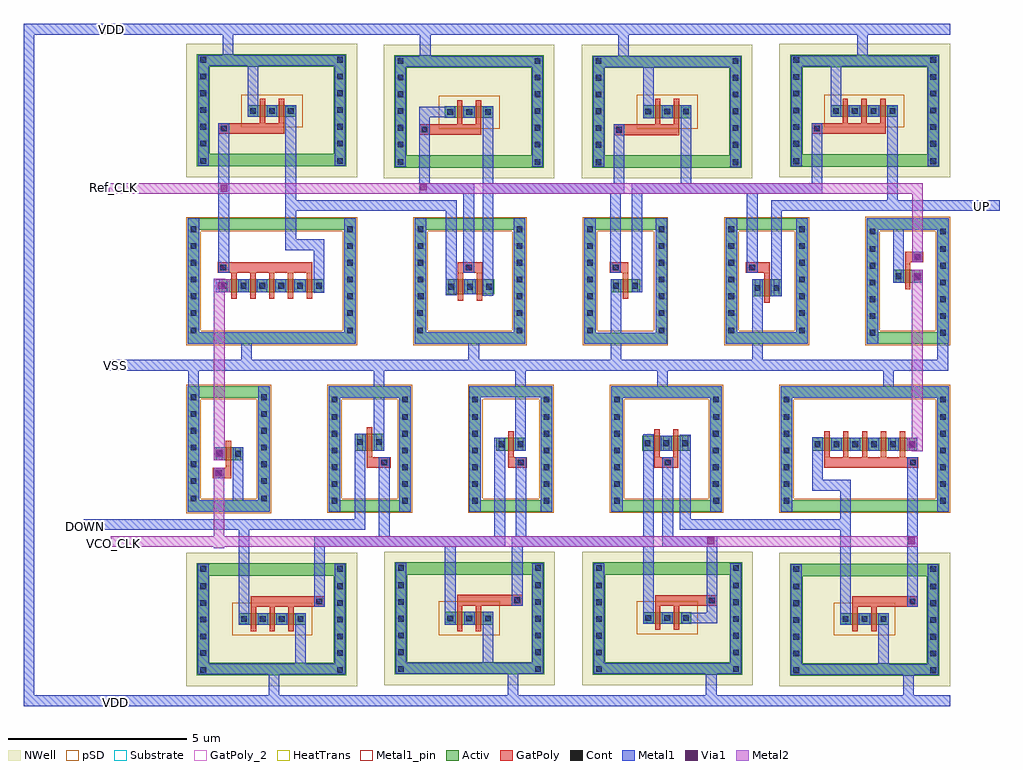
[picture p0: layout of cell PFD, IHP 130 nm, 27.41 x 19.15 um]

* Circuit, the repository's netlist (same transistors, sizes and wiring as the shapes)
* Extracted by KLayout with SG13G2 LVS runset on : 12/07/2025 14:50

.SUBCKT PFD
M$1 \$2 \$44 \$30 \$2 sg13_lv_nmos L=0.15u W=0.48u AS=0.1632p AD=0.1632p
+ PS=1.64u PD=1.64u
M$2 \$2 \$6 \$3 \$2 sg13_lv_nmos L=0.15u W=0.48u AS=0.1632p AD=0.1632p PS=1.64u
+ PD=1.64u
M$3 \$42 \$41 \$39 \$2 sg13_lv_nmos L=0.15u W=0.42u AS=0.1428p AD=0.0798p
+ PS=1.52u PD=0.8u
M$4 \$39 \$41 \$43 \$2 sg13_lv_nmos L=0.15u W=0.42u AS=0.0798p AD=0.1428p
+ PS=0.8u PD=1.52u
M$5 \$17 \$8 \$25 \$2 sg13_lv_nmos L=0.15u W=0.42u AS=0.1428p AD=0.0798p
+ PS=1.52u PD=0.8u
M$6 \$25 \$8 \$7 \$2 sg13_lv_nmos L=0.15u W=0.42u AS=0.0798p AD=0.1428p PS=0.8u
+ PD=1.52u
M$7 \$18 \$8 \$2 \$2 sg13_lv_nmos L=0.15u W=0.36u AS=0.1224p AD=0.1224p PS=1.4u
+ PD=1.4u
M$8 \$2 \$43 \$44 \$2 sg13_lv_nmos L=0.15u W=0.36u AS=0.1224p AD=0.1224p
+ PS=1.4u PD=1.4u
M$9 \$2 \$7 \$6 \$2 sg13_lv_nmos L=0.15u W=0.36u AS=0.1224p AD=0.1224p PS=1.4u
+ PD=1.4u
M$10 \$19 \$41 \$2 \$2 sg13_lv_nmos L=0.15u W=0.36u AS=0.1224p AD=0.1224p
+ PS=1.4u PD=1.4u
M$11 \$1 \$44 \$45 \$1 sg13_lv_pmos L=0.15u W=0.32u AS=0.1088p AD=0.0608p
+ PS=1.32u PD=0.7u
M$12 \$45 \$44 \$48 \$1 sg13_lv_pmos L=0.15u W=0.32u AS=0.0608p AD=0.0608p
+ PS=0.7u PD=0.7u
M$13 \$48 \$44 \$30 \$1 sg13_lv_pmos L=0.15u W=0.32u AS=0.0608p AD=0.1088p
+ PS=0.7u PD=1.32u
M$14 \$1 \$6 \$9 \$1 sg13_lv_pmos L=0.15u W=0.32u AS=0.1088p AD=0.0608p
+ PS=1.32u PD=0.7u
M$15 \$9 \$6 \$11 \$1 sg13_lv_pmos L=0.15u W=0.32u AS=0.0608p AD=0.0608p
+ PS=0.7u PD=0.7u
M$16 \$11 \$6 \$3 \$1 sg13_lv_pmos L=0.15u W=0.32u AS=0.0608p AD=0.1088p
+ PS=0.7u PD=1.32u
M$17 \$1 \$43 \$53 \$1 sg13_lv_pmos L=0.15u W=0.36u AS=0.1224p AD=0.0684p
+ PS=1.4u PD=0.74u
M$18 \$53 \$43 \$44 \$1 sg13_lv_pmos L=0.15u W=0.36u AS=0.0684p AD=0.1224p
+ PS=0.74u PD=1.4u
M$19 \$1 \$7 \$13 \$1 sg13_lv_pmos L=0.15u W=0.36u AS=0.1224p AD=0.0684p
+ PS=1.4u PD=0.74u
M$20 \$13 \$7 \$6 \$1 sg13_lv_pmos L=0.15u W=0.36u AS=0.0684p AD=0.1224p
+ PS=0.74u PD=1.4u
M$21 \$18 \$41 \$34 \$2 sg13_lv_nmos L=0.15u W=0.36u AS=0.1224p AD=0.0684p
+ PS=1.4u PD=0.74u
M$22 \$34 \$41 \$36 \$2 sg13_lv_nmos L=0.15u W=0.36u AS=0.0684p AD=0.0684p
+ PS=0.74u PD=0.74u
M$23 \$36 \$41 \$32 \$2 sg13_lv_nmos L=0.15u W=0.36u AS=0.0684p AD=0.0684p
+ PS=0.74u PD=0.74u
M$24 \$32 \$41 \$31 \$2 sg13_lv_nmos L=0.15u W=0.36u AS=0.0684p AD=0.0684p
+ PS=0.74u PD=0.74u
M$25 \$31 \$41 \$42 \$2 sg13_lv_nmos L=0.15u W=0.36u AS=0.0684p AD=0.1224p
+ PS=0.74u PD=1.4u
M$26 \$19 \$8 \$20 \$2 sg13_lv_nmos L=0.15u W=0.36u AS=0.1224p AD=0.0684p
+ PS=1.4u PD=0.74u
M$27 \$20 \$8 \$23 \$2 sg13_lv_nmos L=0.15u W=0.36u AS=0.0684p AD=0.0684p
+ PS=0.74u PD=0.74u
M$28 \$23 \$8 \$21 \$2 sg13_lv_nmos L=0.15u W=0.36u AS=0.0684p AD=0.0684p
+ PS=0.74u PD=0.74u
M$29 \$21 \$8 \$28 \$2 sg13_lv_nmos L=0.15u W=0.36u AS=0.0684p AD=0.0684p
+ PS=0.74u PD=0.74u
M$30 \$28 \$8 \$17 \$2 sg13_lv_nmos L=0.15u W=0.36u AS=0.0684p AD=0.1224p
+ PS=0.74u PD=1.4u
M$31 \$1 \$41 \$47 \$1 sg13_lv_pmos L=0.15u W=0.32u AS=0.1088p AD=0.0608p
+ PS=1.32u PD=0.7u
M$32 \$47 \$41 \$42 \$1 sg13_lv_pmos L=0.15u W=0.32u AS=0.0608p AD=0.1088p
+ PS=0.7u PD=1.32u
M$33 \$1 \$8 \$4 \$1 sg13_lv_pmos L=0.15u W=0.32u AS=0.1088p AD=0.0608p
+ PS=1.32u PD=0.7u
M$34 \$4 \$8 \$17 \$1 sg13_lv_pmos L=0.15u W=0.32u AS=0.0608p AD=0.1088p
+ PS=0.7u PD=1.32u
M$35 \$8 \$8 \$15 \$1 sg13_lv_pmos L=0.15u W=0.32u AS=0.1088p AD=0.0608p
+ PS=1.32u PD=0.7u
M$36 \$15 \$8 \$7 \$1 sg13_lv_pmos L=0.15u W=0.32u AS=0.0608p AD=0.1088p
+ PS=0.7u PD=1.32u
M$37 \$41 \$41 \$51 \$1 sg13_lv_pmos L=0.15u W=0.32u AS=0.1088p AD=0.0608p
+ PS=1.32u PD=0.7u
M$38 \$51 \$41 \$43 \$1 sg13_lv_pmos L=0.15u W=0.32u AS=0.0608p AD=0.1088p
+ PS=0.7u PD=1.32u
.ENDS PFD

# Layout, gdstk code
from math import pi, radians
import gdstk
lib = gdstk.Library(unit=1e-6, precision=5e-09)
def R(c, l, rs):  # rectangles x0, y0, x1, y1
    for r in rs: c.add(gdstk.rectangle(r[:2], r[2:], *l))
def A(c, l, x, y, w, h, nx, ny, dx, dy):  # array of equal rectangles
    R(c, l, [(x+i*dx, y+j*dy, x+i*dx+w, y+j*dy+h) for i in range(nx) for j in range(ny)])
def P(c, l, *ps):  # polygons
    for p in ps: c.add(gdstk.Polygon(p, *l))
Activ = (1, 0)
GatPoly = (5, 0)
GatPoly_2 = (5, 2)
Cont = (6, 0)
Metal1 = (8, 0)
Metal1_pin = (8, 2)
Metal2 = (10, 0)
pSD = (14, 0)
Via1 = (19, 0)
NWell = (31, 0)
Substrate = (40, 0)
HeatTrans = (51, 0)

pmos = lib.new_cell('pmos')
A(pmos, Activ, 0, 0, 0.3, 0.3, 3, 1, 0.53, 0)
R(pmos, Activ, [(0,0,1.36,0.32)])
R(pmos, GatPoly, [(0.34,-0.18,0.49,0.5), (0.34,-0.18,0.49,0.5), (0.87,-0.18,1.02,0.5)])
A(pmos, Cont, 0.07, 0.08, 0.16, 0.16, 3, 1, 0.53, 0)
R(pmos, Metal1, [(0.07,0,0.23,0.32), (0.07,0,0.23,0.32), (0.6,0,0.76,0.32), (0.6,0,0.76,0.32), (1.13,0,1.29,0.32)])
R(pmos, pSD, [(-0.18,-0.3,1.54,0.62)])
R(pmos, NWell, [(-0.31,-0.31,1.67,0.63)])
R(pmos, Substrate, [(1.06,0,1.36,0.3)])
R(pmos, HeatTrans, [(0.34,-0.18,0.49,0.5), (0.87,-0.18,1.02,0.5)])
pmos.add(gdstk.Label('pmos', (0.415,0.16), layer=63, texttype=0))
pmos.add(gdstk.Label('pmos', (0.415,0.16), layer=51, texttype=0))
pmos.add(gdstk.Label('pmos', (0.945,0.16), layer=51, texttype=0))

nmos_1 = lib.new_cell('nmos$1')
A(nmos_1, Activ, 0, 0, 0.3, 0.3, 6, 1, 0.53, 0)
R(nmos_1, Activ, [(0,0,2.95,0.36)])
A(nmos_1, GatPoly, 0.34, -0.18, 0.15, 0.72, 5, 1, 0.53, 0)
R(nmos_1, GatPoly_2, [(0.34,-0.18,0.49,0.54)])
A(nmos_1, Cont, 0.07, 0.1, 0.16, 0.16, 6, 1, 0.53, 0)
A(nmos_1, Metal1, 0.07, 0, 0.16, 0.36, 6, 1, 0.53, 0)
R(nmos_1, Metal1_pin, [(0.07,0,0.23,0.36), (0.6,0,0.76,0.36)])
A(nmos_1, HeatTrans, 0.34, -0.18, 0.15, 0.72, 5, 1, 0.53, 0)
nmos_1.add(gdstk.Label('nmos', (0.415,0.18), layer=63, texttype=0))
nmos_1.add(gdstk.Label('nmos', (0.415,0.18), layer=51, texttype=0))
nmos_1.add(gdstk.Label('nmos', (0.945,0.18), layer=51, texttype=0))
nmos_1.add(gdstk.Label('nmos', (1.475,0.18), layer=51, texttype=0))
nmos_1.add(gdstk.Label('nmos', (2.005,0.18), layer=51, texttype=0))
nmos_1.add(gdstk.Label('nmos', (2.535,0.18), layer=51, texttype=0))

pmos_2 = lib.new_cell('pmos$2')
A(pmos_2, Activ, 0, 0, 0.3, 0.3, 3, 1, 0.53, 0)
R(pmos_2, Activ, [(0,0,1.36,0.36)])
R(pmos_2, GatPoly, [(0.34,-0.18,0.49,0.54), (0.34,-0.18,0.49,0.54), (0.87,-0.18,1.02,0.54)])
A(pmos_2, Cont, 0.07, 0.1, 0.16, 0.16, 3, 1, 0.53, 0)
R(pmos_2, Metal1, [(0.07,0,0.23,0.36), (0.07,0,0.23,0.36), (0.6,0,0.76,0.36), (0.6,0,0.76,0.36), (1.13,0,1.29,0.36)])
R(pmos_2, pSD, [(-0.18,-0.3,1.54,0.66)])
R(pmos_2, NWell, [(-0.31,-0.31,1.67,0.67)])
R(pmos_2, Substrate, [(1.06,0,1.36,0.3)])
R(pmos_2, HeatTrans, [(0.34,-0.18,0.49,0.54), (0.87,-0.18,1.02,0.54)])
pmos_2.add(gdstk.Label('pmos', (0.415,0.18), layer=63, texttype=0))
pmos_2.add(gdstk.Label('pmos', (0.415,0.18), layer=51, texttype=0))
pmos_2.add(gdstk.Label('pmos', (0.945,0.18), layer=51, texttype=0))

pmos_3 = lib.new_cell('pmos$3')
A(pmos_3, Activ, 0, 0, 0.3, 0.3, 4, 1, 0.53, 0)
R(pmos_3, Activ, [(0,0,1.89,0.32)])
A(pmos_3, GatPoly, 0.34, -0.18, 0.15, 0.68, 3, 1, 0.53, 0)
R(pmos_3, GatPoly, [(0.34,-0.18,0.49,0.5)])
A(pmos_3, Cont, 0.07, 0.08, 0.16, 0.16, 4, 1, 0.53, 0)
A(pmos_3, Metal1, 0.6, 0, 0.16, 0.32, 3, 1, 0.53, 0)
R(pmos_3, Metal1, [(0.07,0,0.23,0.32), (0.07,0,0.23,0.32), (0.6,0,0.76,0.32)])
R(pmos_3, pSD, [(-0.18,-0.3,2.07,0.62)])
R(pmos_3, NWell, [(-0.31,-0.31,2.2,0.63)])
R(pmos_3, Substrate, [(1.59,0,1.89,0.3)])
A(pmos_3, HeatTrans, 0.34, -0.18, 0.15, 0.68, 3, 1, 0.53, 0)
pmos_3.add(gdstk.Label('pmos', (0.415,0.16), layer=63, texttype=0))
pmos_3.add(gdstk.Label('pmos', (0.415,0.16), layer=51, texttype=0))
pmos_3.add(gdstk.Label('pmos', (0.945,0.16), layer=51, texttype=0))
pmos_3.add(gdstk.Label('pmos', (1.475,0.16), layer=51, texttype=0))

nmos = lib.new_cell('nmos')
R(nmos, Activ, [(0,0,0.3,0.3), (0,0,0.83,0.36), (0.53,0,0.83,0.3)])
R(nmos, GatPoly, [(0.34,-0.18,0.49,0.54)])
R(nmos, GatPoly_2, [(0.34,-0.18,0.49,0.54)])
R(nmos, Cont, [(0.07,0.1,0.23,0.26), (0.6,0.1,0.76,0.26)])
R(nmos, Metal1, [(0.07,0,0.23,0.36), (0.6,0,0.76,0.36)])
R(nmos, Metal1_pin, [(0.07,0,0.23,0.36), (0.6,0,0.76,0.36)])
R(nmos, HeatTrans, [(0.34,-0.18,0.49,0.54)])
nmos.add(gdstk.Label('nmos', (0.415,0.18), layer=63, texttype=0))
nmos.add(gdstk.Label('nmos', (0.415,0.18), layer=51, texttype=0))

nmos_2 = lib.new_cell('nmos$2')
A(nmos_2, Activ, 0, 0, 0.3, 0.3, 3, 1, 0.53, 0)
R(nmos_2, Activ, [(0,0,1.36,0.42)])
R(nmos_2, GatPoly, [(0.34,-0.18,0.49,0.6), (0.87,-0.18,1.02,0.6)])
R(nmos_2, GatPoly_2, [(0.34,-0.18,0.49,0.6)])
A(nmos_2, Cont, 0.07, 0.13, 0.16, 0.16, 3, 1, 0.53, 0)
A(nmos_2, Metal1, 0.07, 0, 0.16, 0.42, 3, 1, 0.53, 0)
R(nmos_2, Metal1_pin, [(0.07,0,0.23,0.42), (0.6,0,0.76,0.42)])
R(nmos_2, HeatTrans, [(0.34,-0.18,0.49,0.6), (0.87,-0.18,1.02,0.6)])
nmos_2.add(gdstk.Label('nmos', (0.415,0.21), layer=63, texttype=0))
nmos_2.add(gdstk.Label('nmos', (0.415,0.21), layer=51, texttype=0))
nmos_2.add(gdstk.Label('nmos', (0.945,0.21), layer=51, texttype=0))

nmos_3 = lib.new_cell('nmos$3')
R(nmos_3, Activ, [(0,0,0.3,0.3), (0,0,0.83,0.48), (0.53,0,0.83,0.3)])
R(nmos_3, GatPoly, [(0.34,-0.18,0.49,0.66)])
R(nmos_3, GatPoly_2, [(0.34,-0.18,0.49,0.66)])
R(nmos_3, Cont, [(0.07,0.16,0.23,0.32), (0.6,0.16,0.76,0.32)])
R(nmos_3, Metal1, [(0.07,0,0.23,0.48), (0.6,0,0.76,0.48)])
R(nmos_3, Metal1_pin, [(0.07,0,0.23,0.48), (0.6,0,0.76,0.48)])
R(nmos_3, HeatTrans, [(0.34,-0.18,0.49,0.66)])
nmos_3.add(gdstk.Label('nmos', (0.415,0.24), layer=63, texttype=0))
nmos_3.add(gdstk.Label('nmos', (0.415,0.24), layer=51, texttype=0))

pfd = lib.new_cell('PFD')
P(pfd, Activ, [(-45.135,-10.94),(-45.135,-7.42),(-40.42,-7.42),(-40.42,-10.62),(-40.74,-10.62),(-40.74,-7.74),(-44.815,-7.74),(-44.815,-10.62),(-40.42,-10.62),(-40.42,-10.94)],
  [(-49.895,-10.94),(-49.895,-7.42),(-46.795,-7.42),(-46.795,-10.62),(-47.12,-10.62),(-47.12,-7.74),(-49.575,-7.74),(-49.575,-10.62),(-46.795,-10.62),(-46.795,-10.94)],
  [(-53.885,-10.94),(-53.885,-7.415),(-51.555,-7.415),(-51.555,-10.94),(-51.88,-10.94),(-51.88,-7.73),(-53.56,-7.73),(-53.56,-10.62),(-51.88,-10.62),(-51.88,-10.94)],
  [(-57.83,-10.94),(-57.83,-7.42),(-55.525,-7.42),(-55.525,-10.62),(-55.85,-10.62),(-55.85,-7.74),(-57.505,-7.74),(-57.505,-10.62),(-55.525,-10.62),(-55.525,-10.94)],
  [(-42.725,-6.225),(-42.725,-2.705),(-40.42,-2.705),(-40.42,-5.905),(-40.745,-5.905),(-40.745,-3.025),(-42.4,-3.025),(-42.4,-5.905),(-40.42,-5.905),(-40.42,-6.225)],
  [(-50.415,-15.52),(-50.415,-12.37),(-46.22,-12.37),(-46.22,-15.17),(-46.575,-15.17),(-46.575,-12.72),(-50.065,-12.72),(-50.065,-15.17),(-46.22,-15.17),(-46.22,-15.52)],
  [(-55.975,-15.515),(-55.975,-12.365),(-51.78,-12.365),(-51.78,-15.165),(-52.135,-15.165),(-52.135,-12.715),(-55.625,-12.715),(-55.625,-15.165),(-51.78,-15.165),(-51.78,-15.515)],
  [(-61.53,-15.54),(-61.53,-12.39),(-57.335,-12.39),(-57.335,-15.19),(-57.69,-15.19),(-57.69,-12.74),(-61.18,-12.74),(-61.18,-15.19),(-57.335,-15.19),(-57.335,-15.54)],
  [(-44.875,-15.55),(-44.875,-12.4),(-40.68,-12.4),(-40.68,-15.2),(-41.035,-15.2),(-41.035,-12.75),(-44.525,-12.75),(-44.525,-15.2),(-40.68,-15.2),(-40.68,-15.55)],
  [(-61.79,-6.23),(-61.79,-3.03),(-61.47,-3.03),(-61.47,-5.91),(-57.395,-5.91),(-57.395,-3.03),(-61.79,-3.03),(-61.79,-2.71),(-57.075,-2.71),(-57.075,-6.23)],
  [(-55.415,-6.23),(-55.415,-3.03),(-55.09,-3.03),(-55.09,-5.91),(-52.635,-5.91),(-52.635,-3.03),(-55.415,-3.03),(-55.415,-2.71),(-52.315,-2.71),(-52.315,-6.23)],
  [(-50.655,-6.235),(-50.655,-2.71),(-50.33,-2.71),(-50.33,-5.92),(-48.65,-5.92),(-48.65,-3.03),(-50.33,-3.03),(-50.33,-2.71),(-48.325,-2.71),(-48.325,-6.235)],
  [(-46.685,-6.23),(-46.685,-3.03),(-46.36,-3.03),(-46.36,-5.91),(-44.705,-5.91),(-44.705,-3.03),(-46.685,-3.03),(-46.685,-2.71),(-44.38,-2.71),(-44.38,-6.23)],
  [(-61.79,-10.945),(-61.79,-7.745),(-61.465,-7.745),(-61.465,-10.625),(-59.81,-10.625),(-59.81,-7.745),(-61.79,-7.745),(-61.79,-7.425),(-59.485,-7.425),(-59.485,-10.945)],
  [(-55.99,-1.28),(-55.99,1.52),(-55.635,1.52),(-55.635,-0.93),(-52.145,-0.93),(-52.145,1.52),(-55.99,1.52),(-55.99,1.87),(-51.795,1.87),(-51.795,-1.28)],
  [(-50.43,-1.285),(-50.43,1.515),(-50.075,1.515),(-50.075,-0.935),(-46.585,-0.935),(-46.585,1.515),(-50.43,1.515),(-50.43,1.865),(-46.235,1.865),(-46.235,-1.285)],
  [(-44.875,-1.26),(-44.875,1.54),(-44.52,1.54),(-44.52,-0.91),(-41.03,-0.91),(-41.03,1.54),(-44.875,1.54),(-44.875,1.89),(-40.68,1.89),(-40.68,-1.26)],
  [(-61.53,-1.25),(-61.53,1.55),(-61.175,1.55),(-61.175,-0.9),(-57.685,-0.9),(-57.685,1.55),(-61.53,1.55),(-61.53,1.9),(-57.335,1.9),(-57.335,-1.25)])
R(pfd, GatPoly, [(-60.02,-13.615,-57.94,-13.315), (-43.125,-13.615,-41.285,-13.315), (-48.665,-13.585,-46.92,-13.285), (-54.225,-13.58,-52.385,-13.28), (-61.08,-10.005,-60.565,-9.705), (-56.76,-9.71,-56.095,-9.41), (-52.785,-9.71,-52.27,-9.41), (-48.69,-9.71,-48.01,-9.41), (-43.915,-9.71,-41.27,-9.41), (-60.715,-9.705,-60.565,-9.675), (-60.94,-4.24,-58.295,-3.94), (-54.2,-4.24,-53.52,-3.94), (-49.94,-4.24,-49.425,-3.94), (-46.115,-4.24,-45.45,-3.94), (-41.645,-3.975,-41.495,-3.94), (-41.645,-3.94,-41.13,-3.64), (-49.825,-0.37,-47.985,-0.07), (-55.29,-0.365,-53.545,-0.065), (-60.925,-0.335,-59.085,-0.035), (-44.27,-0.335,-42.19,-0.035)])
A(pfd, Cont, -44.78, -15.475, 0.16, 0.16, 1, 6, 0, 0.47)
A(pfd, Cont, -40.935, -15.475, 0.16, 0.16, 1, 6, 0, 0.47)
A(pfd, Cont, -61.435, -15.465, 0.16, 0.16, 1, 6, 0, 0.47)
A(pfd, Cont, -57.59, -15.465, 0.16, 0.16, 1, 6, 0, 0.47)
A(pfd, Cont, -50.32, -15.445, 0.16, 0.16, 1, 6, 0, 0.47)
A(pfd, Cont, -46.475, -15.445, 0.16, 0.16, 1, 6, 0, 0.47)
A(pfd, Cont, -55.88, -15.44, 0.16, 0.16, 1, 6, 0, 0.47)
A(pfd, Cont, -52.035, -15.44, 0.16, 0.16, 1, 6, 0, 0.47)
A(pfd, Cont, -57.75, -10.715, 0.16, 0.16, 1, 6, 0, 0.47)
A(pfd, Cont, -55.765, -10.715, 0.16, 0.16, 1, 6, 0, 0.47)
A(pfd, Cont, -53.805, -10.715, 0.16, 0.16, 1, 6, 0, 0.47)
A(pfd, Cont, -51.795, -10.715, 0.16, 0.16, 1, 6, 0, 0.47)
A(pfd, Cont, -49.815, -10.715, 0.16, 0.16, 1, 6, 0, 0.47)
A(pfd, Cont, -45.055, -10.715, 0.16, 0.16, 1, 6, 0, 0.47)
A(pfd, Cont, -40.66, -10.715, 0.16, 0.16, 1, 6, 0, 0.47)
A(pfd, Cont, -61.71, -10.16, 0.16, 0.16, 1, 6, 0, 0.47)
A(pfd, Cont, -59.725, -10.16, 0.16, 0.16, 1, 6, 0, 0.47)
A(pfd, Cont, -42.645, -6, 0.16, 0.16, 1, 6, 0, 0.47)
A(pfd, Cont, -40.66, -6, 0.16, 0.16, 1, 6, 0, 0.47)
A(pfd, Cont, -61.71, -5.445, 0.16, 0.16, 1, 6, 0, 0.47)
A(pfd, Cont, -57.315, -5.445, 0.16, 0.16, 1, 6, 0, 0.47)
A(pfd, Cont, -52.555, -5.445, 0.16, 0.16, 1, 6, 0, 0.47)
A(pfd, Cont, -50.575, -5.445, 0.16, 0.16, 1, 6, 0, 0.47)
A(pfd, Cont, -48.565, -5.445, 0.16, 0.16, 1, 6, 0, 0.47)
A(pfd, Cont, -46.605, -5.445, 0.16, 0.16, 1, 6, 0, 0.47)
A(pfd, Cont, -44.62, -5.445, 0.16, 0.16, 1, 6, 0, 0.47)
A(pfd, Cont, -50.335, -0.72, 0.16, 0.16, 1, 6, 0, 0.47)
A(pfd, Cont, -46.49, -0.72, 0.16, 0.16, 1, 6, 0, 0.47)
A(pfd, Cont, -55.895, -0.715, 0.16, 0.16, 1, 6, 0, 0.47)
A(pfd, Cont, -52.05, -0.715, 0.16, 0.16, 1, 6, 0, 0.47)
A(pfd, Cont, -44.78, -0.695, 0.16, 0.16, 1, 6, 0, 0.47)
A(pfd, Cont, -40.935, -0.695, 0.16, 0.16, 1, 6, 0, 0.47)
A(pfd, Cont, -61.435, -0.685, 0.16, 0.16, 1, 6, 0, 0.47)
A(pfd, Cont, -57.59, -0.685, 0.16, 0.16, 1, 6, 0, 0.47)
R(pfd, Cont, [(-58.175,-13.545,-58.015,-13.385), (-41.52,-13.545,-41.36,-13.385), (-47.155,-13.515,-46.995,-13.355), (-52.615,-13.51,-52.455,-13.35), (-44.78,-12.635,-44.62,-12.475), (-40.935,-12.635,-40.775,-12.475), (-61.435,-12.625,-61.275,-12.465), (-57.59,-12.625,-57.43,-12.465), (-50.32,-12.605,-50.16,-12.445), (-46.475,-12.605,-46.315,-12.445), (-55.88,-12.6,-55.72,-12.44), (-52.035,-12.6,-51.875,-12.44), (-47.03,-10.715,-46.87,-10.555), (-61.71,-10.65,-61.55,-10.49), (-59.725,-10.65,-59.565,-10.49), (-47.04,-10.245,-46.88,-10.085), (-60.995,-9.935,-60.835,-9.775), (-47.04,-9.775,-46.88,-9.615), (-56.35,-9.64,-56.19,-9.48), (-52.52,-9.64,-52.36,-9.48), (-48.39,-9.64,-48.23,-9.48), (-41.5,-9.64,-41.34,-9.48), (-47.045,-9.305,-46.885,-9.145), (-47.045,-8.835,-46.885,-8.675), (-47.03,-8.365,-46.87,-8.205), (-57.75,-7.875,-57.59,-7.715), (-55.765,-7.875,-55.605,-7.715), (-53.805,-7.875,-53.645,-7.715), (-51.795,-7.875,-51.635,-7.715), (-49.815,-7.875,-49.655,-7.715), (-47.035,-7.875,-46.875,-7.715), (-45.055,-7.875,-44.895,-7.715), (-40.66,-7.875,-40.5,-7.715), (-61.71,-5.935,-61.55,-5.775), (-57.315,-5.935,-57.155,-5.775), (-55.345,-5.935,-55.185,-5.775), (-52.555,-5.935,-52.395,-5.775), (-50.575,-5.935,-50.415,-5.775), (-48.565,-5.935,-48.405,-5.775), (-46.605,-5.935,-46.445,-5.775), (-44.62,-5.935,-44.46,-5.775), (-55.345,-5.445,-55.185,-5.285), (-55.325,-4.975,-55.165,-4.815), (-55.33,-4.505,-55.17,-4.345), (-60.87,-4.17,-60.71,-4.01), (-53.98,-4.17,-53.82,-4.01), (-49.85,-4.17,-49.69,-4.01), (-46.02,-4.17,-45.86,-4.01), (-55.335,-4.035,-55.175,-3.875), (-41.375,-3.87,-41.215,-3.71), (-55.335,-3.565,-55.175,-3.405), (-42.645,-3.16,-42.485,-3), (-40.66,-3.16,-40.5,-3), (-55.33,-3.095,-55.17,-2.935), (-50.335,-1.21,-50.175,-1.05), (-46.49,-1.21,-46.33,-1.05), (-55.895,-1.205,-55.735,-1.045), (-52.05,-1.205,-51.89,-1.045), (-44.78,-1.185,-44.62,-1.025), (-40.935,-1.185,-40.775,-1.025), (-61.435,-1.175,-61.275,-1.015), (-57.59,-1.175,-57.43,-1.015), (-49.755,-0.3,-49.595,-0.14), (-55.22,-0.295,-55.06,-0.135), (-60.855,-0.265,-60.695,-0.105), (-44.2,-0.265,-44.04,-0.105)])
R(pfd, Metal1, [(-66.4,-16.4,-66.1,2.75), (-66.4,-16.4,-40.38,-16.1), (-59.52,-16.4,-59.22,-15.215), (-52.805,-16.4,-52.505,-15.19), (-47.24,-16.4,-46.94,-15.195), (-41.7,-16.4,-41.4,-15.225), (-44.85,-15.525,-40.71,-15.225), (-44.85,-15.525,-44.55,-12.415), (-44.475,-15.525,-40.92,-15.225), (-42.405,-15.525,-42.105,-13.795), (-41.01,-15.525,-40.71,-12.42), (-61.505,-15.515,-57.365,-15.215), (-61.505,-15.515,-61.205,-12.405), (-61.205,-15.515,-57.575,-15.215), (-58.77,-15.515,-58.47,-13.795), (-57.665,-15.515,-57.365,-12.41), (-50.39,-15.495,-46.25,-15.195), (-50.39,-15.495,-50.09,-12.385), (-50.015,-15.495,-46.46,-15.195), (-46.55,-15.495,-46.25,-12.39), (-55.95,-15.49,-51.81,-15.19), (-55.95,-15.49,-55.65,-12.38), (-55.575,-15.49,-52.02,-15.19), (-53.505,-15.49,-53.205,-13.76), (-52.11,-15.49,-51.81,-12.385), (-54.565,-14.12,-54.265,-11.635), (-54.025,-14.12,-53.965,-13.76), (-53.805,-14.12,-53.725,-13.76), (-60.36,-14.115,-60.06,-11.15), (-60.36,-14.115,-60.06,-13.795), (-59.825,-14.115,-59.76,-13.795), (-59.6,-14.115,-59.525,-13.795), (-59.3,-14.115,-59.23,-13.795), (-59.07,-14.115,-59,-13.795), (-43.465,-14.115,-43.165,-10.05), (-42.95,-14.115,-42.925,-13.795), (-42.925,-14.115,-42.865,-13.795), (-42.705,-14.115,-42.65,-13.795), (-42.65,-14.115,-42.625,-13.795), (-49.005,-14.085,-48.705,-11.635), (-48.475,-14.085,-48.405,-13.765), (-48.245,-14.085,-48.175,-13.765), (-47.93,-14.075,-46.92,-13.775), (-47.22,-14.075,-46.92,-13.585), (-58.24,-13.615,-57.94,-11.635), (-41.585,-13.615,-41.285,-9.41), (-52.685,-13.58,-52.385,-11.635), (-58.24,-11.935,-53.125,-11.635), (-56.42,-11.935,-56.12,-9.41), (-53.175,-11.935,-52.875,-8.87), (-52.685,-11.935,-48.705,-11.635), (-52.585,-11.935,-52.285,-9.41), (-48.46,-11.935,-48.16,-9.41), (-49.005,-11.635,-48.705,-8.775), (-64.715,-11.45,-56.8,-11.15), (-57.1,-11.45,-56.8,-8.75), (-47.97,-11.45,-47.67,-8.78), (-47.97,-11.45,-43.165,-11.15), (-61.79,-10.945,-61.465,-7.425), (-61.79,-10.945,-59.485,-10.625), (-60.525,-10.945,-60.225,-9.13), (-59.81,-10.945,-59.485,-7.425), (-57.83,-10.94,-57.505,-7.42), (-55.85,-10.94,-55.525,-7.42), (-53.885,-10.94,-53.56,-7.415), (-51.88,-10.94,-51.555,-7.415), (-49.895,-10.94,-49.575,-7.42), (-47.12,-10.94,-46.795,-7.42), (-45.135,-10.94,-44.815,-7.42), (-40.74,-10.94,-40.42,-7.42), (-44.255,-10.35,-43.955,-8.85), (-44.255,-10.35,-43.165,-10.05), (-61.065,-10.005,-60.765,-9.705), (-61.055,-9.495,-60.755,-9.135), (-57.085,-9.23,-56.785,-8.75), (-56.57,-9.23,-56.27,-7.42), (-52.595,-9.23,-52.295,-7.415), (-48.5,-9.23,-48.43,-8.81), (-48.27,-9.23,-48.195,-8.81), (-43.725,-9.23,-43.655,-8.87), (-43.495,-9.23,-43.425,-8.87), (-43.2,-9.23,-43.125,-8.87), (-42.965,-9.23,-42.9,-8.87), (-42.675,-9.23,-42.595,-8.87), (-42.435,-9.23,-42.375,-8.87), (-42.125,-9.23,-42.065,-8.87), (-41.905,-9.23,-41.825,-8.87), (-41.6,-9.23,-41.535,-8.87), (-41.375,-9.23,-41.3,-8.87), (-61.775,-7.785,-61.475,-6.68), (-57.83,-7.74,-55.525,-7.42), (-56.57,-7.74,-56.27,-6.68), (-49.895,-7.74,-46.795,-7.42), (-48.605,-7.74,-48.305,-6.68), (-45.135,-7.74,-40.42,-7.42), (-42.265,-7.74,-41.965,-6.68), (-53.885,-7.73,-51.555,-7.415), (-52.595,-7.73,-52.295,-6.68), (-63.995,-6.98,-40.44,-6.68), (-60.285,-6.98,-59.985,-5.91), (-53.905,-6.98,-53.605,-5.91), (-49.915,-6.98,-49.615,-5.92), (-45.94,-6.98,-45.64,-5.91), (-40.74,-6.98,-40.44,-5.865), (-50.655,-6.235,-48.325,-5.92), (-50.655,-6.235,-50.33,-2.71), (-49.915,-6.235,-49.615,-4.42), (-48.65,-6.235,-48.325,-2.71), (-61.79,-6.23,-61.47,-2.71), (-61.79,-6.23,-57.075,-5.91), (-57.395,-6.23,-57.075,-2.71), (-55.415,-6.23,-52.315,-5.91), (-55.415,-6.23,-55.09,-2.71), (-52.635,-6.23,-52.315,-2.71), (-46.685,-6.23,-46.36,-2.71), (-46.685,-6.23,-44.38,-5.91), (-45.94,-6.23,-45.64,-4.42), (-44.705,-6.23,-44.38,-2.71), (-42.725,-6.225,-42.4,-2.705), (-40.745,-6.225,-40.42,-2.705), (-45.425,-4.9,-45.125,-4.42), (-45.41,-4.9,-45.11,-2.2), (-53.505,-4.875,-53.205,-2.015), (-54.54,-4.87,-54.24,-2.2), (-54.025,-4.84,-53.94,-4.42), (-53.78,-4.84,-53.7,-4.42), (-58.255,-4.8,-57.955,-3.3), (-61,-4.78,-60.835,-4.42), (-60.375,-4.78,-60.305,-4.42), (-60.145,-4.78,-60.075,-4.42), (-59.85,-4.78,-59.775,-4.42), (-59.615,-4.78,-59.55,-4.42), (-59.325,-4.78,-59.245,-4.42), (-59.085,-4.78,-59.025,-4.42), (-58.8,-4.78,-58.715,-4.42), (-58.555,-4.78,-58.475,-4.42), (-49.325,-4.78,-49.025,-1.715), (-41.985,-4.515,-41.685,-2.7), (-41.455,-4.515,-41.155,-4.155), (-60.925,-4.24,-60.625,-0.035), (-54.05,-4.24,-53.75,-1.715), (-49.925,-4.24,-49.625,-1.715), (-46.09,-4.24,-45.79,-1.715), (-41.445,-3.94,-41.145,-3.64), (-59.045,-3.6,-58.745,0.465), (-59.045,-3.6,-57.955,-3.3), (-42.725,-3.025,-40.42,-2.705), (-59.045,-2.5,-54.24,-2.2), (-45.41,-2.5,-38.995,-2.2), (-42.15,-2.5,-41.85,0.465), (-53.505,-2.015,-49.525,-1.715), (-53.505,-2.015,-53.205,0.435), (-49.825,-2.015,-49.525,-0.07), (-49.085,-2.015,-43.97,-1.715), (-47.945,-2.015,-47.645,0.47), (-44.27,-2.015,-43.97,-0.035), (-46.56,-1.27,-46.26,1.84), (-52.12,-1.265,-51.82,1.845), (-50.4,-1.265,-50.1,1.84), (-55.96,-1.26,-55.66,1.845), (-41.005,-1.245,-40.705,1.865), (-44.845,-1.24,-44.545,1.865), (-57.66,-1.235,-57.36,1.875), (-61.5,-1.23,-61.2,1.875), (-55.29,-0.065,-54.99,0.425), (-49.005,0.11,-48.705,1.84), (-48.475,0.11,-48.405,0.47), (-48.245,0.11,-48.175,0.47), (-54.05,0.115,-53.965,0.435), (-53.805,0.115,-53.725,0.435), (-55.29,0.125,-54.28,0.425), (-60.105,0.145,-59.805,1.875), (-59.575,0.145,-59.505,0.465), (-59.345,0.145,-59.275,0.465), (-43.74,0.145,-43.44,1.865), (-43.225,0.145,-43.2,0.465), (-43.2,0.145,-43.14,0.465), (-42.98,0.145,-42.925,0.465), (-42.925,0.145,-42.9,0.465), (-42.675,0.145,-42.61,0.465), (-42.45,0.145,-42.375,0.465), (-42.15,0.145,-41.85,0.465), (-50.4,1.54,-46.26,1.84), (-50.19,1.54,-46.635,1.84), (-49.705,1.54,-49.405,2.75), (-55.96,1.545,-51.82,1.845), (-55.75,1.545,-52.195,1.845), (-55.27,1.545,-54.97,2.75), (-44.845,1.565,-40.705,1.865), (-44.635,1.565,-41.005,1.865), (-42.99,1.565,-42.69,2.75), (-61.5,1.575,-57.36,1.875), (-61.5,1.575,-57.36,1.875), (-60.81,1.575,-60.51,2.75), (-66.4,2.45,-40.375,2.75)])
P(pfd, Metal1, [(-47.22,-13.585),(-47.22,-11.635),(-46.92,-11.635),(-46.92,-13.46),(-46.92,-13.585)],
  [(-48.46,-11.935),(-48.46,-11.635),(-47.045,-11.635),(-46.92,-11.635),(-46.92,-11.935)],
  [(-55.29,-2.015),(-55.29,-0.19),(-55.29,-0.065),(-54.99,-0.065),(-54.99,-2.015)],
  [(-55.29,-2.015),(-55.29,-1.715),(-53.75,-1.715),(-53.75,-2.015),(-55.165,-2.015)])
R(pfd, Metal2, [(-61.065,-11.965,-60.765,-9.705), (-63.945,-11.935,-41.285,-11.635), (-61.055,-9.495,-60.755,-4.405), (-41.455,-9.245,-41.155,-4.155), (-41.605,-9.23,-41.155,-8.87), (-61.055,-4.78,-60.605,-4.42), (-41.445,-3.94,-41.145,-1.715), (-64.01,-2.015,-41.145,-1.715)])
P(pfd, pSD, [(-45.175,-10.98),(-45.175,-7.38),(-40.38,-7.38),(-40.38,-10.58),(-40.785,-10.58),(-40.785,-7.78),(-44.775,-7.78),(-44.775,-10.58),(-40.38,-10.58),(-40.38,-10.98)],
  [(-53.905,-10.98),(-53.905,-7.38),(-51.515,-7.38),(-51.515,-10.58),(-51.92,-10.58),(-51.92,-7.78),(-53.5,-7.78),(-53.5,-10.58),(-51.515,-10.58),(-51.515,-10.98)],
  [(-57.87,-10.98),(-57.87,-7.38),(-55.485,-7.38),(-55.485,-10.58),(-55.89,-10.58),(-55.89,-7.78),(-57.465,-7.78),(-57.465,-10.58),(-55.485,-10.58),(-55.485,-10.98)],
  [(-49.935,-10.98),(-49.935,-7.38),(-46.755,-7.38),(-46.755,-10.58),(-47.16,-10.58),(-47.16,-7.78),(-49.535,-7.78),(-49.535,-10.58),(-46.755,-10.58),(-46.755,-10.98)],
  [(-42.765,-6.265),(-42.765,-2.665),(-40.38,-2.665),(-40.38,-5.865),(-40.785,-5.865),(-40.785,-3.065),(-42.36,-3.065),(-42.36,-5.865),(-40.38,-5.865),(-40.38,-6.265)],
  [(-61.83,-6.27),(-61.83,-3.07),(-61.425,-3.07),(-61.425,-5.87),(-57.435,-5.87),(-57.435,-3.07),(-61.83,-3.07),(-61.83,-2.67),(-57.035,-2.67),(-57.035,-6.27)],
  [(-50.695,-6.27),(-50.695,-3.07),(-50.29,-3.07),(-50.29,-5.87),(-48.71,-5.87),(-48.71,-3.07),(-50.695,-3.07),(-50.695,-2.67),(-48.305,-2.67),(-48.305,-6.27)],
  [(-46.725,-6.27),(-46.725,-3.07),(-46.32,-3.07),(-46.32,-5.87),(-44.745,-5.87),(-44.745,-3.07),(-46.725,-3.07),(-46.725,-2.67),(-44.34,-2.67),(-44.34,-6.27)],
  [(-55.455,-6.27),(-55.455,-3.07),(-55.05,-3.07),(-55.05,-5.87),(-52.675,-5.87),(-52.675,-3.07),(-55.455,-3.07),(-55.455,-2.67),(-52.275,-2.67),(-52.275,-6.27)],
  [(-61.83,-10.985),(-61.83,-7.785),(-61.425,-7.785),(-61.425,-10.585),(-59.85,-10.585),(-59.85,-7.785),(-61.83,-7.785),(-61.83,-7.385),(-59.445,-7.385),(-59.445,-10.985)])
R(pfd, Via1, [(-47.195,-11.855,-47.005,-11.665), (-41.56,-11.855,-41.37,-11.665), (-61.015,-9.95,-60.825,-9.76), (-60.995,-9.4,-60.805,-9.21), (-41.545,-9.155,-41.355,-8.965), (-60.945,-4.685,-60.755,-4.495), (-41.4,-4.44,-41.21,-4.25), (-41.395,-3.885,-41.205,-3.695), (-60.865,-1.96,-60.675,-1.77), (-55.265,-1.925,-55.075,-1.735)])
R(pfd, NWell, [(-45.175,-15.85,-40.38,-12.1), (-61.83,-15.84,-57.035,-12.09), (-50.715,-15.82,-45.92,-12.07), (-56.275,-15.815,-51.48,-12.065), (-56.275,-15.815,-51.48,-12.065), (-50.73,-1.585,-45.935,2.165), (-50.73,-1.585,-45.935,2.165), (-56.29,-1.58,-51.495,2.17), (-45.175,-1.56,-40.38,2.19), (-61.83,-1.55,-57.035,2.2)])
pfd.add(gdstk.Reference(pmos, (-60.105,0.145)))
pfd.add(gdstk.Reference(nmos_1, (-60.905,-4.78)))
pfd.add(gdstk.Reference(pmos, (-54.565,0.115)))
pfd.add(gdstk.Reference(pmos_2, (-49.005,0.11)))
pfd.add(gdstk.Reference(pmos_3, (-43.74,0.145)))
pfd.add(gdstk.Reference(nmos, (-61.055,-9.495)))
pfd.add(gdstk.Reference(nmos_2, (-54.54,-4.84)))
pfd.add(gdstk.Reference(nmos, (-49.915,-4.78)))
pfd.add(gdstk.Reference(nmos_3, (-45.94,-4.9)))
pfd.add(gdstk.Reference(pmos, (-42.105,-13.795), rotation=pi))
pfd.add(gdstk.Reference(nmos_1, (-41.305,-8.87), rotation=pi))
pfd.add(gdstk.Reference(pmos, (-47.645,-13.765), rotation=pi))
pfd.add(gdstk.Reference(pmos_2, (-53.205,-13.76), rotation=pi))
pfd.add(gdstk.Reference(pmos_3, (-58.47,-13.795), rotation=pi))
pfd.add(gdstk.Reference(nmos, (-41.155,-4.155), rotation=pi))
pfd.add(gdstk.Reference(nmos_2, (-47.67,-8.81), rotation=pi))
pfd.add(gdstk.Reference(nmos, (-52.295,-8.87), rotation=pi))
pfd.add(gdstk.Reference(nmos_3, (-56.27,-8.75), rotation=pi))
pfd.add(gdstk.Label('VDD', (-63.935,2.585), layer=8, texttype=2))
pfd.add(gdstk.Label('VDD', (-63.82,-16.295), layer=8, texttype=2))
pfd.add(gdstk.Label('VSS', (-63.825,-6.85), layer=8, texttype=2))
pfd.add(gdstk.Label('UP', (-39.49,-2.365), layer=8, texttype=2))
pfd.add(gdstk.Label('DOWN', (-64.65,-11.35), layer=8, texttype=2))
pfd.add(gdstk.Label('Ref_CLK', (-63.86,-1.855), layer=10, texttype=2))
pfd.add(gdstk.Label('VCO_CLK', (-63.885,-11.845), layer=10, texttype=2))

lib.write_gds('PFD.gds')
